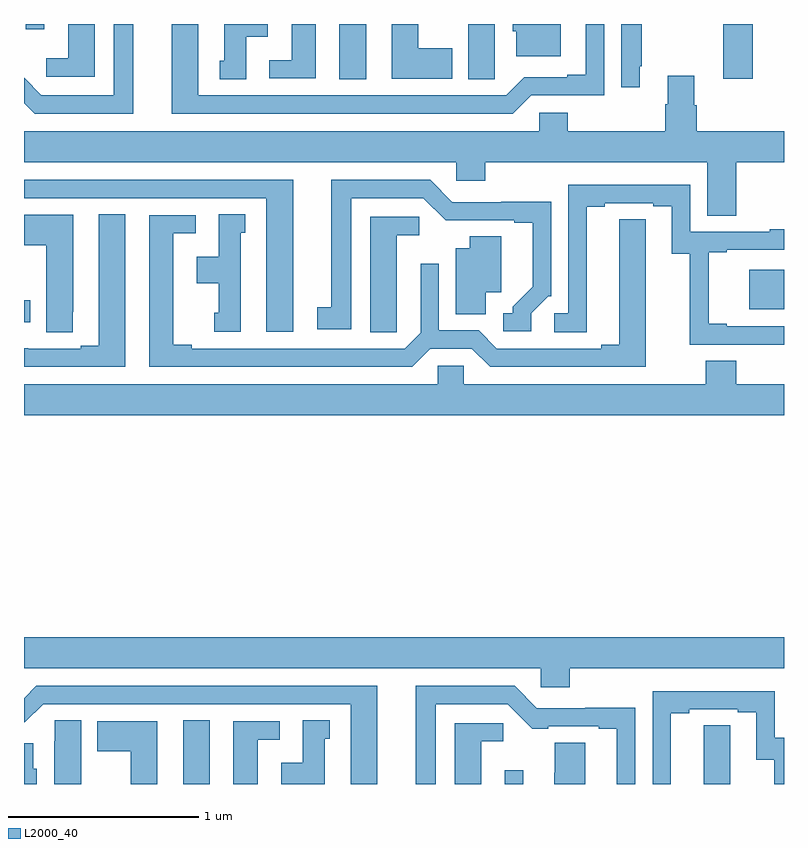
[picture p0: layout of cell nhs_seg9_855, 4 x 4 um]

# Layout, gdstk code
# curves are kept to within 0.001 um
import gdstk
lib = gdstk.Library(unit=1e-6, precision=1e-09)
def R(c, l, rs):  # rectangles x0, y0, x1, y1
    for r in rs: c.add(gdstk.rectangle(r[:2], r[2:], *l))
def P(c, l, *ps):  # polygons
    for p in ps: c.add(gdstk.Polygon(p, *l))
L2000_40 = (2000, 40)

nhs_seg9_855 = lib.new_cell('nhs_seg9_855')
R(nhs_seg9_855, L2000_40, [(157.838,1174.5,157.978,1174.835), (159.531,1174.5,159.628,1174.573), (157,1176.93,157.033,1177.047), (160.817,1176.998,161,1177.207), (158.66,1178.209,158.8,1178.5), (160.681,1178.211,160.835,1178.5), (157.01,1178.472,157.107,1178.5)])
P(nhs_seg9_855, L2000_40, [(159.826,1178.5),(159.572,1178.5),(159.572,1178.463),(159.59,1178.463),(159.59,1178.33),(159.826,1178.33)],
  [(157.372,1178.5),(157.232,1178.5),(157.232,1178.32),(157.116,1178.32),(157.116,1178.223),(157.372,1178.223)],
  [(159.477,1178.32),(159.478,1178.32),(159.478,1178.5),(159.338,1178.5),(159.338,1178.209),(159.477,1178.209)],
  [(158.17,1178.432),(158.284,1178.432),(158.284,1178.5),(158.054,1178.5),(158.054,1178.307),(158.03,1178.307),(158.03,1178.209),(158.17,1178.209)],
  [(157.576,1178.5),(157.472,1178.5),(157.472,1178.124),(157.092,1178.124),(157,1178.216),(157,1178.084),(157.056,1178.028),(157.576,1178.028)],
  [(159.669,1178.124),(160.053,1178.124),(160.053,1178.5),(159.956,1178.5),(159.956,1178.233),(159.86,1178.233),(159.86,1178.22),(159.633,1178.22),(159.537,1178.124),(157.918,1178.124),(157.918,1178.5),(157.778,1178.5),(157.778,1178.028),(159.573,1178.028)],
  [(160.24,1178.278),(160.252,1178.278),(160.252,1178.5),(160.143,1178.5),(160.143,1178.166),(160.24,1178.166)],
  [(159.253,1178.373),(159.076,1178.373),(159.076,1178.5),(158.936,1178.5),(158.936,1178.213),(159.253,1178.213)],
  [(158.536,1178.5),(158.408,1178.5),(158.408,1178.31),(158.292,1178.31),(158.292,1178.214),(158.536,1178.214)],
  [(160.748,1177.772),(161,1177.772),(161,1177.936),(160.541,1177.936),(160.541,1178.073),(160.528,1178.073),(160.528,1178.227),(160.388,1178.227),(160.388,1178.078),(160.376,1178.078),(160.376,1177.936),(159.863,1177.936),(159.863,1178.034),(159.711,1178.034),(159.711,1177.936),(157,1177.936),(157,1177.772),(159.276,1177.772),(159.276,1177.674),(159.428,1177.674),(159.428,1177.772),(160.595,1177.772),(160.595,1177.492),(160.748,1177.492)],
  [(158.416,1177.68),(157,1177.68),(157,1177.584),(158.276,1177.584),(158.276,1176.879),(158.416,1176.879)],
  [(159.669,1176.978),(159.759,1177.068),(159.774,1177.068),(159.774,1177.565),(159.511,1177.565),(159.511,1177.563),(159.255,1177.563),(159.138,1177.68),(158.618,1177.68),(158.618,1177.01),(158.544,1177.01),(158.544,1176.894),(158.722,1176.894),(158.722,1177.584),(159.102,1177.584),(159.22,1177.466),(159.581,1177.467),(159.581,1177.455),(159.677,1177.455),(159.677,1177.118),(159.572,1177.013),(159.572,1176.978),(159.522,1176.978),(159.522,1176.882),(159.669,1176.882)],
  [(161,1176.909),(160.699,1176.909),(160.699,1176.922),(160.604,1176.922),(160.604,1177.299),(160.699,1177.299),(160.699,1177.311),(161,1177.311),(161,1177.42),(160.925,1177.42),(160.925,1177.407),(160.506,1177.407),(160.506,1177.653),(159.864,1177.653),(159.864,1176.978),(159.792,1176.978),(159.792,1176.877),(159.961,1176.877),(159.961,1177.537),(160.057,1177.537),(160.057,1177.557),(160.313,1177.557),(160.313,1177.542),(160.409,1177.542),(160.409,1177.291),(160.504,1177.291),(160.504,1176.813),(161,1176.813)],
  [(158.14,1177.401),(158.164,1177.401),(158.164,1177.499),(158.024,1177.499),(158.024,1177.276),(157.91,1177.276),(157.91,1177.136),(158.024,1177.136),(158.024,1176.981),(158,1176.981),(158,1176.879),(158.14,1176.879)],
  [(157.534,1177.499),(157.394,1177.499),(157.394,1176.807),(157.298,1176.807),(157.298,1176.792),(157.022,1176.792),(157.022,1176.793),(157,1176.793),(157,1176.696),(157.534,1176.696)],
  [(157.257,1176.985),(157.258,1176.985),(157.258,1177.495),(157,1177.495),(157,1177.336),(157.118,1177.336),(157.118,1176.877),(157.257,1176.877)],
  [(159.139,1176.792),(159.357,1176.792),(159.453,1176.696),(160.273,1176.696),(160.272,1177.472),(160.133,1177.472),(160.133,1176.812),(160.037,1176.812),(160.037,1176.792),(159.489,1176.792),(159.393,1176.888),(159.183,1176.888),(159.183,1177.237),(159.087,1177.237),(159.087,1176.876),(159.003,1176.792),(157.882,1176.792),(157.882,1176.812),(157.786,1176.812),(157.786,1177.398),(157.903,1177.398),(157.903,1177.494),(157.658,1177.494),(157.658,1176.696),(159.043,1176.696)],
  [(158.961,1176.985),(158.962,1176.985),(158.962,1177.388),(159.079,1177.388),(159.079,1177.485),(158.822,1177.485),(158.822,1176.877),(158.961,1176.877)],
  [(159.43,1177.088),(159.511,1177.088),(159.511,1177.382),(159.347,1177.382),(159.347,1177.321),(159.272,1177.321),(159.272,1176.973),(159.43,1176.973)],
  [(161,1176.604),(160.748,1176.604),(160.748,1176.728),(160.588,1176.728),(160.588,1176.604),(159.315,1176.604),(159.315,1176.702),(159.177,1176.702),(159.177,1176.604),(157,1176.604),(157,1176.44),(161,1176.44)],
  [(159.872,1175.108),(161,1175.108),(161,1175.272),(157,1175.272),(157,1175.108),(159.72,1175.108),(159.72,1175.01),(159.872,1175.01)],
  [(159.166,1174.92),(159.546,1174.92),(159.674,1174.792),(159.76,1174.792),(159.76,1174.803),(160.025,1174.803),(160.025,1174.791),(160.121,1174.791),(160.121,1174.5),(160.218,1174.5),(160.218,1174.901),(159.955,1174.901),(159.955,1174.899),(159.699,1174.899),(159.582,1175.016),(159.062,1175.016),(159.062,1174.5),(159.166,1174.5)],
  [(158.86,1175.016),(157.065,1175.016),(157,1174.951),(157,1174.824),(157.005,1174.824),(157.101,1174.92),(158.72,1174.92),(158.72,1174.5),(158.86,1174.5)],
  [(160.405,1174.873),(160.501,1174.873),(160.501,1174.893),(160.757,1174.893),(160.757,1174.878),(160.853,1174.878),(160.853,1174.627),(160.948,1174.627),(160.948,1174.5),(161,1174.5),(161,1174.743),(160.95,1174.743),(160.95,1174.989),(160.308,1174.989),(160.308,1174.5),(160.405,1174.5)],
  [(158.584,1174.737),(158.608,1174.737),(158.608,1174.835),(158.468,1174.835),(158.468,1174.612),(158.354,1174.612),(158.354,1174.5),(158.584,1174.5)],
  [(157.3,1174.835),(157.161,1174.835),(157.161,1174.724),(157.16,1174.724),(157.16,1174.5),(157.3,1174.5)],
  [(157.702,1174.831),(157.385,1174.831),(157.385,1174.672),(157.562,1174.672),(157.562,1174.5),(157.702,1174.5)],
  [(158.23,1174.734),(158.347,1174.734),(158.347,1174.83),(158.102,1174.83),(158.102,1174.5),(158.23,1174.5)],
  [(159.406,1174.724),(159.523,1174.724),(159.523,1174.821),(159.266,1174.821),(159.266,1174.5),(159.406,1174.5)],
  [(160.717,1174.7),(160.716,1174.7),(160.716,1174.808),(160.577,1174.808),(160.577,1174.5),(160.717,1174.5)],
  [(159.955,1174.718),(159.793,1174.718),(159.793,1174.56),(159.791,1174.56),(159.791,1174.5),(159.955,1174.5)],
  [(157.066,1174.581),(157.048,1174.581),(157.048,1174.714),(157,1174.714),(157,1174.5),(157.066,1174.5)])

lib.write_gds('nhs_seg9_855.gds')
